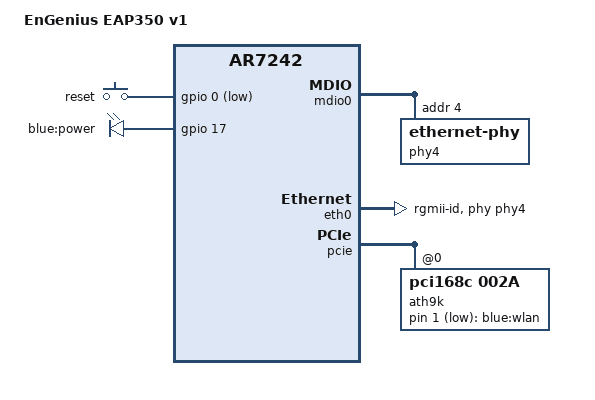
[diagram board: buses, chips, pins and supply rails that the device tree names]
// SPDX-License-Identifier: GPL-2.0-or-later OR MIT

#include "ar7242.dtsi"
#include "ar724x_senao_loader-4k.dtsi"

#include <dt-bindings/gpio/gpio.h>
#include <dt-bindings/input/input.h>

/ {
	compatible = "engenius,eap350-v1", "qca,ar7242";
	model = "EnGenius EAP350 v1";

	aliases {
		label-mac-device = &eth0;
		led-boot = &led_power;
		led-failsafe = &led_power;
		led-running = &led_power;
		led-upgrade = &led_power;
	};

	keys {
		compatible = "gpio-keys";

		reset {
			label = "reset";
			gpios = <&gpio 0 GPIO_ACTIVE_LOW>;
			debounce-interval = <60>;
			linux,code = <KEY_RESTART>;
		};
	};

	leds {
		compatible = "gpio-leds";

		led_power: power {
			label = "blue:power";
			gpios = <&gpio 17 GPIO_ACTIVE_HIGH>;
			default-state = "on";
		};
	};

	ath9k-leds {
		compatible = "gpio-leds";

		wlan {
			label = "blue:wlan";
			gpios = <&ath9k 1 GPIO_ACTIVE_LOW>;
			linux,default-trigger = "phy0tpt";
		};
	};
};

&mdio0 {
	status = "okay";

	phy4: ethernet-phy@4 {
		reg = <4>;
		eee-broken-100tx;
		eee-broken-1000t;
	};
};

&eth0 {
	status = "okay";

	mtd-mac-address = <&art 0x0>;

	phy-handle = <&phy4>;
	phy-mode = "rgmii-id";

	pll-data = <0x02000000 0x00000101 0x00001313>;
};

&pcie {
	status = "okay";

	ath9k: wifi@0,0,0 {
		compatible = "pci168c,002a";
		reg = <0x0 0 0 0 0>;
		mtd-mac-address = <&art 0x0>;
		mtd-mac-address-increment = <1>;
		qca,no-eeprom;
		#gpio-cells = <2>;
		gpio-controller;
	};
};
